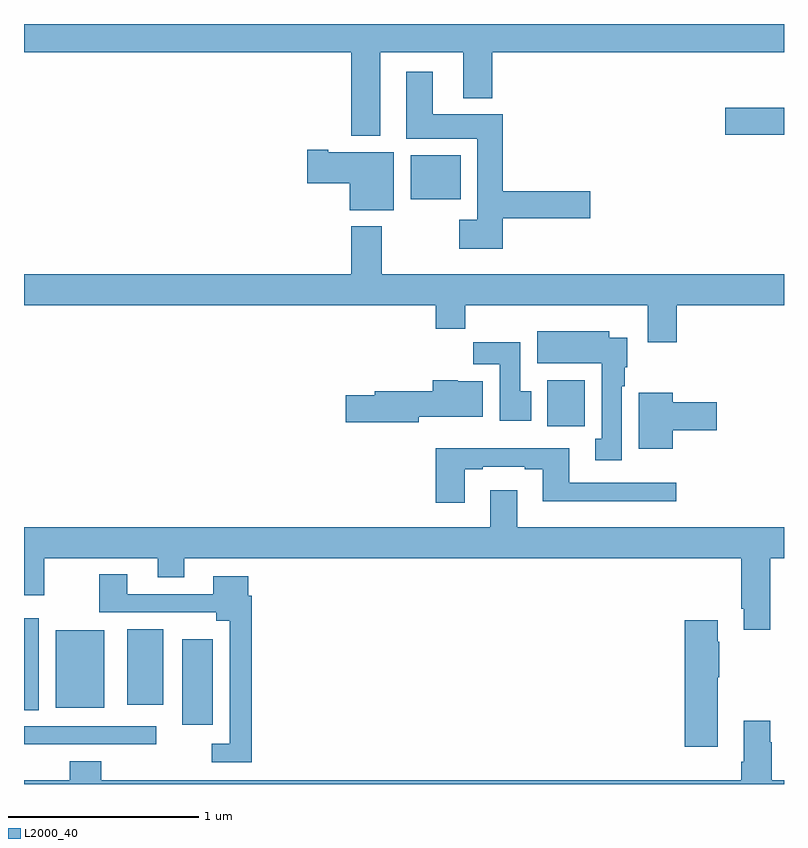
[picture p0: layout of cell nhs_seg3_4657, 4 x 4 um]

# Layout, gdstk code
import gdstk
lib = gdstk.Library(unit=1e-6, precision=1e-09)
def R(c, l, rs):  # rectangles x0, y0, x1, y1
    for r in rs: c.add(gdstk.rectangle(r[:2], r[2:], *l))
def P(c, l, *ps):  # polygons
    for p in ps: c.add(gdstk.Polygon(p, *l))
L2000_40 = (2000, 40)

nhs_seg3_4657 = lib.new_cell('nhs_seg3_4657')
R(nhs_seg3_4657, L2000_40, [(361,694.608,361.696,694.704), (361.832,694.713,361.993,695.161), (361,694.789,361.078,695.272), (361.166,694.802,361.423,695.209), (361.544,694.817,361.732,695.215), (363.755,696.284,363.952,696.526), (363.035,697.478,363.298,697.708), (364.692,697.817,365,697.959)])
P(nhs_seg3_4657, L2000_40, [(362.875,698.252),(363.311,698.252),(363.311,698.009),(363.464,698.009),(363.464,698.252),(365,698.252),(365,698.4),(361,698.4),(361,698.252),(362.723,698.252),(362.723,697.811),(362.875,697.811)],
  [(363.521,697.378),(363.979,697.378),(363.979,697.52),(363.521,697.52),(363.521,697.924),(363.151,697.924),(363.151,698.149),(363.011,698.149),(363.011,697.796),(363.386,697.796),(363.386,697.369),(363.291,697.369),(363.291,697.217),(363.521,697.217)],
  [(362.947,697.726),(362.602,697.726),(362.602,697.739),(362.49,697.739),(362.49,697.561),(362.714,697.561),(362.714,697.421),(362.947,697.421)],
  [(364.436,696.92),(365,696.92),(365,697.084),(362.883,697.084),(362.883,697.336),(362.723,697.336),(362.723,697.084),(361,697.084),(361,696.92),(363.167,696.92),(363.167,696.796),(363.323,696.796),(363.323,696.92),(364.283,696.92),(364.283,696.726),(364.436,696.726)],
  [(364.147,696.494),(364.162,696.494),(364.162,696.594),(364.174,696.594),(364.174,696.748),(364.081,696.748),(364.081,696.784),(363.701,696.784),(363.701,696.614),(364.04,696.614),(364.04,696.218),(364.007,696.218),(364.007,696.105),(364.147,696.105)],
  [(363.67,696.468),(363.613,696.468),(363.613,696.726),(363.364,696.726),(363.364,696.608),(363.503,696.608),(363.503,696.312),(363.67,696.312)],
  [(363.078,696.332),(363.415,696.332),(363.415,696.52),(363.282,696.52),(363.282,696.526),(363.152,696.526),(363.152,696.468),(362.847,696.468),(362.847,696.447),(362.694,696.447),(362.694,696.305),(363.078,696.305)],
  [(364.414,696.263),(364.645,696.263),(364.645,696.41),(364.414,696.41),(364.414,696.46),(364.235,696.46),(364.235,696.164),(364.414,696.164)],
  [(363.319,696.057),(363.415,696.057),(363.415,696.069),(363.635,696.069),(363.635,696.057),(363.731,696.057),(363.731,695.888),(364.432,695.888),(364.432,695.985),(363.871,695.985),(363.871,696.166),(363.167,696.166),(363.167,695.88),(363.319,695.88)],
  [(364.927,695.588),(365,695.588),(365,695.752),(363.595,695.752),(363.595,695.947),(363.455,695.947),(363.455,695.752),(361,695.752),(361,695.394),(361.107,695.394),(361.107,695.588),(361.703,695.588),(361.703,695.489),(361.843,695.489),(361.843,695.588),(364.775,695.588),(364.775,695.323),(364.787,695.323),(364.787,695.211),(364.927,695.211)],
  [(362.198,695.39),(362.179,695.39),(362.179,695.494),(361.997,695.494),(361.997,695.4),(361.543,695.4),(361.543,695.503),(361.396,695.503),(361.396,695.304),(362.012,695.304),(362.012,695.258),(362.082,695.258),(362.082,694.611),(361.989,694.611),(361.989,694.515),(362.198,694.515)],
  [(364.651,694.961),(364.659,694.961),(364.659,695.15),(364.651,695.15),(364.651,695.263),(364.478,695.263),(364.478,694.596),(364.651,694.596)],
  [(365,694.42),(364.935,694.42),(364.935,694.619),(364.927,694.619),(364.927,694.732),(364.787,694.732),(364.787,694.516),(364.775,694.516),(364.775,694.42),(361.406,694.42),(361.406,694.519),(361.241,694.519),(361.241,694.42),(361,694.42),(361,694.4),(365,694.4)])

lib.write_gds('nhs_seg3_4657.gds')
